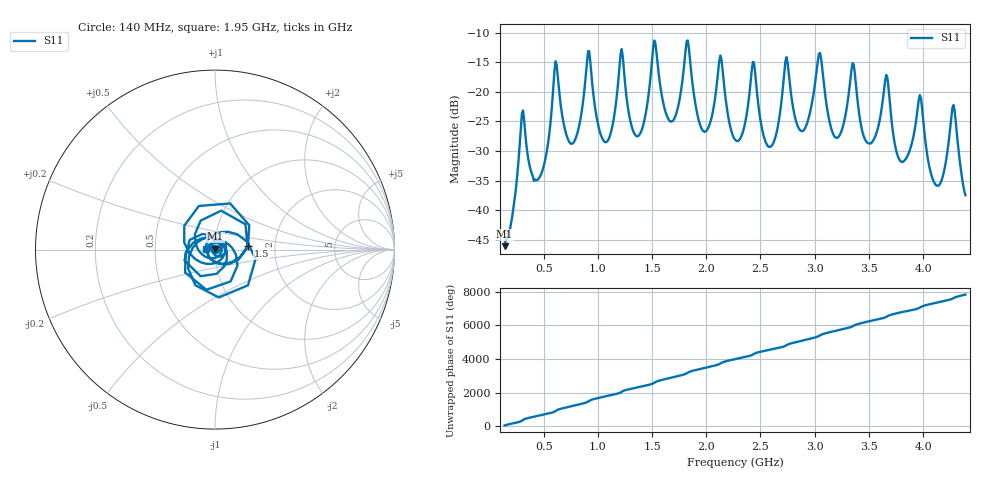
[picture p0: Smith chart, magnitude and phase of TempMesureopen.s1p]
! 140 4400 10
# MHz S MA R 50.0
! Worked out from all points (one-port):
!   426 points, 140 MHz to 4.39 GHz, reference 50 ohm
!   lowest |S11| = -46.1 dB at 140 MHz (marker M1), VSWR 1.01, Z = 50.2 + j0.438 ohm
!   |S11| at or under -10 dB: start of sweep to end of sweep
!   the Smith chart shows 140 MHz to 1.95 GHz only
!   S11 on the Smith chart (normalised r, x): 140 MHz: 1.00, +0.01; 1.5 GHz: 1.45, +0.06; 1.95 GHz: 0.90, +0.01
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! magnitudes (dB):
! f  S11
! 140 MHz  -46.1
! 300 MHz  -23.6
! 430 MHz  -34.9
! 610 MHz  -14.9
! 680 MHz  -24.9
! 790 MHz  -28.1
! 920 MHz  -13.2
! 1.09 GHz  -28.3
! 1.21 GHz  -13.6
! 1.36 GHz  -27.5
! 1.5 GHz  -14.7
! 1.74 GHz  -22.6
! 1.83 GHz  -11.3
! 1.95 GHz  -25.9
! 2.13 GHz  -13.9
! 2.27 GHz  -28.2
! 2.43 GHz  -14.9
! 2.57 GHz  -29.2
! 2.74 GHz  -14.2
! 2.8 GHz  -22.6
! 3.05 GHz  -13.5
! 3.21 GHz  -27.8
! 3.33 GHz  -17.8
! 3.86 GHz  -30.7
! 3.97 GHz  -20.6
! 4.15 GHz  -35.7
! 4.28 GHz  -22.2
! 4.39 GHz  -37.5
